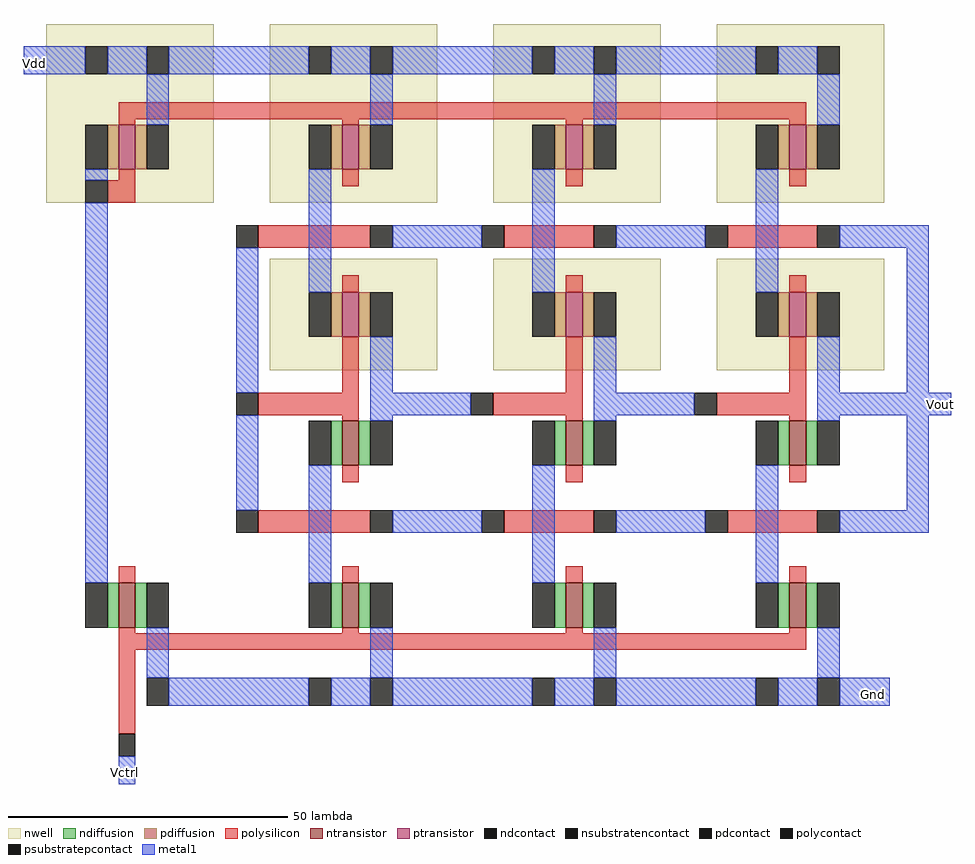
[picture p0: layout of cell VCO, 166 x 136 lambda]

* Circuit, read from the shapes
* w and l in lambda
.subckt VCO Gnd Vctrl Vdd Vout
M1 Gnd Vctrl n1 Gnd nfet w=8 l=3
M2 Gnd Vctrl n2 Gnd nfet w=8 l=3
M3 n3 Vout n2 Gnd nfet w=8 l=3
M4 Gnd Vctrl n4 Gnd nfet w=8 l=3
M5 n5 n3 n4 Gnd nfet w=8 l=3
M6 Gnd Vctrl n6 Gnd nfet w=8 l=3
M7 Vout n5 n6 Gnd nfet w=8 l=3
M8 Vdd n1 n1 Vdd pfet w=8 l=3
M9 n3 Vout n7 n8 pfet w=8 l=3
M10 Vdd n1 n7 Vdd pfet w=8 l=3
M11 n5 n3 n9 n10 pfet w=8 l=3
M12 Vdd n1 n9 Vdd pfet w=8 l=3
M13 Vout n5 n11 n12 pfet w=8 l=3
M14 Vdd n1 n11 Vdd pfet w=8 l=3
.ends

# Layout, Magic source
magic
tech min2
<< nwell >>
rect -3 -3 27 29
rect 37 -3 67 29
rect 77 -3 107 29
rect 117 -3 147 29
rect 37 -33 67 -13
rect 77 -33 107 -13
rect 117 -33 147 -13
<< ntransistor >>
rect 50 -50 53 -42
rect 90 -50 93 -42
rect 130 -50 133 -42
rect 10 -79 13 -71
rect 50 -79 53 -71
rect 90 -79 93 -71
rect 130 -79 133 -71
<< ptransistor >>
rect 10 3 13 11
rect 50 3 53 11
rect 90 3 93 11
rect 130 3 133 11
rect 50 -27 53 -19
rect 90 -27 93 -19
rect 130 -27 133 -19
<< ndiffusion >>
rect 48 -50 50 -42
rect 53 -50 55 -42
rect 88 -50 90 -42
rect 93 -50 95 -42
rect 128 -50 130 -42
rect 133 -50 135 -42
rect 8 -79 10 -71
rect 13 -79 15 -71
rect 48 -79 50 -71
rect 53 -79 55 -71
rect 88 -79 90 -71
rect 93 -79 95 -71
rect 128 -79 130 -71
rect 133 -79 135 -71
<< pdiffusion >>
rect 8 3 10 11
rect 13 3 15 11
rect 48 3 50 11
rect 53 3 55 11
rect 88 3 90 11
rect 93 3 95 11
rect 128 3 130 11
rect 133 3 135 11
rect 48 -27 50 -19
rect 53 -27 55 -19
rect 88 -27 90 -19
rect 93 -27 95 -19
rect 128 -27 130 -19
rect 133 -27 135 -19
<< ndcontact >>
rect 44 -50 48 -42
rect 55 -50 59 -42
rect 84 -50 88 -42
rect 95 -50 99 -42
rect 124 -50 128 -42
rect 135 -50 139 -42
rect 4 -79 8 -71
rect 15 -79 19 -71
rect 44 -79 48 -71
rect 55 -79 59 -71
rect 84 -79 88 -71
rect 95 -79 99 -71
rect 124 -79 128 -71
rect 135 -79 139 -71
<< pdcontact >>
rect 4 3 8 11
rect 15 3 19 11
rect 44 3 48 11
rect 55 3 59 11
rect 84 3 88 11
rect 95 3 99 11
rect 124 3 128 11
rect 135 3 139 11
rect 44 -27 48 -19
rect 55 -27 59 -19
rect 84 -27 88 -19
rect 95 -27 99 -19
rect 124 -27 128 -19
rect 135 -27 139 -19
<< psubstratepcontact >>
rect 15 -93 19 -88
rect 44 -93 48 -88
rect 55 -93 59 -88
rect 84 -93 88 -88
rect 95 -93 99 -88
rect 124 -93 128 -88
rect 135 -93 139 -88
<< nsubstratencontact >>
rect 4 20 8 25
rect 15 20 19 25
rect 44 20 48 25
rect 55 20 59 25
rect 84 20 88 25
rect 95 20 99 25
rect 124 20 128 25
rect 135 20 139 25
<< polysilicon >>
rect 10 12 133 15
rect 10 11 13 12
rect 50 11 53 12
rect 90 11 93 12
rect 130 11 133 12
rect 10 1 13 3
rect 8 -3 13 1
rect 50 0 53 3
rect 90 0 93 3
rect 130 0 133 3
rect 35 -11 55 -7
rect 79 -11 95 -7
rect 119 -11 135 -7
rect 50 -19 53 -16
rect 90 -19 93 -16
rect 130 -19 133 -16
rect 50 -37 53 -27
rect 90 -37 93 -27
rect 130 -37 133 -27
rect 35 -41 53 -37
rect 77 -41 93 -37
rect 117 -41 133 -37
rect 50 -42 53 -41
rect 90 -42 93 -41
rect 130 -42 133 -41
rect 50 -53 53 -50
rect 90 -53 93 -50
rect 130 -53 133 -50
rect 35 -62 55 -58
rect 79 -62 95 -58
rect 119 -62 135 -58
rect 10 -71 13 -68
rect 50 -71 53 -68
rect 90 -71 93 -68
rect 130 -71 133 -68
rect 10 -80 13 -79
rect 50 -80 53 -79
rect 90 -80 93 -79
rect 130 -80 133 -79
rect 10 -83 133 -80
rect 10 -98 13 -83
<< polycontact >>
rect 4 -3 8 1
rect 31 -11 35 -7
rect 55 -11 59 -7
rect 75 -11 79 -7
rect 95 -11 99 -7
rect 115 -11 119 -7
rect 135 -11 139 -7
rect 31 -41 35 -37
rect 73 -41 77 -37
rect 113 -41 117 -37
rect 31 -62 35 -58
rect 55 -62 59 -58
rect 75 -62 79 -58
rect 95 -62 99 -58
rect 115 -62 119 -58
rect 135 -62 139 -58
rect 10 -102 13 -98
<< metal1 >>
rect -7 20 4 25
rect 8 20 15 25
rect 19 20 44 25
rect 48 20 55 25
rect 59 20 84 25
rect 88 20 95 25
rect 99 20 124 25
rect 128 20 135 25
rect 15 11 19 20
rect 55 11 59 20
rect 95 11 99 20
rect 135 11 139 20
rect 4 1 8 3
rect 4 -71 8 -3
rect 31 -37 35 -11
rect 44 -19 48 3
rect 59 -11 75 -7
rect 84 -19 88 3
rect 99 -11 115 -7
rect 124 -19 128 3
rect 139 -11 155 -7
rect 31 -58 35 -41
rect 55 -37 59 -27
rect 95 -37 99 -27
rect 135 -37 139 -27
rect 151 -37 155 -11
rect 55 -41 73 -37
rect 95 -41 113 -37
rect 135 -41 159 -37
rect 55 -42 59 -41
rect 95 -42 99 -41
rect 135 -42 139 -41
rect 44 -71 48 -50
rect 59 -62 75 -58
rect 84 -71 88 -50
rect 99 -62 115 -58
rect 124 -71 128 -50
rect 151 -58 155 -41
rect 139 -62 155 -58
rect 15 -88 19 -79
rect 55 -88 59 -79
rect 95 -88 99 -79
rect 135 -88 139 -79
rect 19 -93 44 -88
rect 48 -93 55 -88
rect 59 -93 84 -88
rect 88 -93 95 -88
rect 99 -93 124 -88
rect 128 -93 135 -88
rect 139 -93 148 -88
rect 10 -107 13 -102
<< labels >>
rlabel metal1 11 -105 11 -105 1 Vctrl
rlabel metal1 145 -91 145 -91 1 Gnd
rlabel metal1 157 -39 157 -39 7 Vout
rlabel metal1 -5 22 -5 22 3 Vdd
<< end >>
